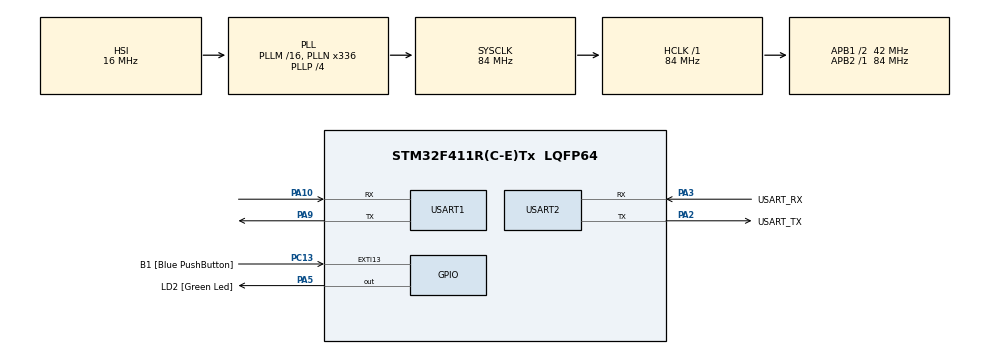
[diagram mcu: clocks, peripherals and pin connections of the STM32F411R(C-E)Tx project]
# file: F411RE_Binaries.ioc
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IWDG.Prescaler=IWDG_PRESCALER_64
IWDG.Reload=2000
Mcu.Family=STM32F4
Mcu.Name=STM32F411R(C-E)Tx
Mcu.Package=LQFP64
NVIC.FLASH_IRQn=true\:0\:0\:false\:false\:true\:true\:true\:true
NVIC.PriorityGroup=NVIC_PRIORITYGROUP_0
NVIC.USART1_IRQn=true\:0\:0\:false\:false\:true\:true\:true\:true
NVIC.USART2_IRQn=true\:0\:0\:false\:false\:true\:true\:true\:true
PA10.Mode=Asynchronous
PA10.Signal=USART1_RX
PA13.GPIO_Label=TMS
PA13.Mode=Serial_Wire
PA13.Signal=SYS_JTMS-SWDIO
PA14.GPIO_Label=TCK
PA14.Mode=Serial_Wire
PA14.Signal=SYS_JTCK-SWCLK
PA2.GPIO_Label=USART_TX
PA2.Mode=Asynchronous
PA2.Signal=USART2_TX
PA3.GPIO_Label=USART_RX
PA3.Mode=Asynchronous
PA3.Signal=USART2_RX
PA5.GPIO_Label=LD2 [Green Led]
PA5.Signal=GPIO_Output
PA9.Mode=Asynchronous
PA9.Signal=USART1_TX
PB3.GPIO_Label=SWO
PB3.Signal=SYS_JTDO-SWO
PC13-ANTI_TAMP.GPIO_Label=B1 [Blue PushButton]
PC13-ANTI_TAMP.GPIO_ModeDefaultEXTI=GPIO_MODE_IT_FALLING
PC13-ANTI_TAMP.Signal=GPXTI13
PC14-OSC32_IN.Mode=LSE-External-Oscillator
PC14-OSC32_IN.Signal=RCC_OSC32_IN
PC15-OSC32_OUT.Mode=LSE-External-Oscillator
PC15-OSC32_OUT.Signal=RCC_OSC32_OUT
PH0\ -\ OSC_IN.Mode=HSE-External-Clock-Source
PH0\ -\ OSC_IN.Signal=RCC_OSC_IN
PH1\ -\ OSC_OUT.Mode=HSE-External-Clock-Source
PH1\ -\ OSC_OUT.Signal=RCC_OSC_OUT
ProjectManager.HeapSize=0x200
ProjectManager.StackSize=0x400
ProjectManager.TargetToolchain=CMake
RCC.48MHZClocksFreq_Value=84000000
RCC.AHBFreq_Value=84000000
RCC.APB1CLKDivider=RCC_HCLK_DIV2
RCC.APB1Freq_Value=42000000
RCC.APB1TimFreq_Value=84000000
RCC.APB2Freq_Value=84000000
RCC.APB2TimFreq_Value=84000000
RCC.CortexFreq_Value=84000000
RCC.FLatency-AdvancedSettings=FLASH_LATENCY_2
RCC.HCLKFreq_Value=84000000
RCC.HSE_VALUE=8000000
RCC.HSI_VALUE=16000000
RCC.PLLN=336
RCC.PLLP=RCC_PLLP_DIV4
RCC.SYSCLKFreq_VALUE=84000000
RCC.SYSCLKSource=RCC_SYSCLKSOURCE_PLLCLK
RCC.VCOOutputFreq_Value=336000000
USART1.VirtualMode=VM_ASYNC
USART2.VirtualMode=VM_ASYNC
VP_IWDG_VS_IWDG.Mode=IWDG_Activate
board=NUCLEO-F411RE

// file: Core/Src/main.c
/* USER CODE BEGIN Header */
/**
  ******************************************************************************
  * @file           : main.c
  * @brief          : Main program body
  ******************************************************************************
  * @attention
  *
  * Copyright (c) 2026 STMicroelectronics.
  * All rights reserved.
  *
  * This software is licensed under terms that can be found in the LICENSE file
  * in the root directory of this software component.
  * If no LICENSE file comes with this software, it is provided AS-IS.
  *
  ******************************************************************************
  */
/* USER CODE END Header */
#include "main.h"

/* USER CODE BEGIN Includes */
#include "esp_ota_flash.h"

/* USER CODE END Includes */

/* USER CODE BEGIN PTD */
#define PUTCHAR_PROTOTYPE int __io_putchar(int ch)
#define GETCHAR_PROTOTYPE int __io_getchar (void)
/* USER CODE END PTD */

/* USER CODE BEGIN PD */

const uint32_t valid_flag = 0xAAAAAAAA;
const uint32_t pending_flag = 0xBBBBBBBB;
const uint32_t reset_flag = 0xDDDDDDDD;
const uint8_t ready_response = 0x78;
uint8_t already_marked = 0;
uint8_t tx_buff[] = "In New program\r\n";
uint8_t tx_buff2[] = "Its been 5 seconds\r\n";
uint8_t tx_buff3[] = "Jumping back to bootloader\r\n";
uint8_t rx_byte;
uint8_t rx_index = 0;
typedef enum {WAIT_START_1, WAIT_START_2, WAIT_OTA_SEQUENCE, RECEIVE_PACKET} rx_state_t; // State machine for rx_packets
rx_state_t rx_state = WAIT_START_1;
uint8_t ota_start_count = 0;
volatile uint8_t rx_start_ota_flag = 0;
/* USER CODE END PD */

IWDG_HandleTypeDef hiwdg;

UART_HandleTypeDef huart1;
UART_HandleTypeDef huart2;

void SystemClock_Config(void);
static void MX_GPIO_Init(void);
static void MX_USART2_UART_Init(void);
static void MX_IWDG_Init(void);
static void MX_USART1_UART_Init(void);

int main(void)
{

  /* MCU Configuration--------------------------------------------------------*/

  /* Reset of all peripherals, Initializes the Flash interface and the Systick. */
  HAL_Init();

  /* Configure the system clock */
  SystemClock_Config();

  /* Initialize all configured peripherals */
  MX_GPIO_Init();
  MX_USART2_UART_Init();
  //MX_IWDG_Init();
  MX_USART1_UART_Init();
  /* USER CODE BEGIN 2 */
  uint32_t flag = *(uint32_t*)FLASH_FLAG_START;
  //char msg[30] = {0};
  //sprintf(msg, "After Jump Flag: %X\r\n", flag);
  //HAL_UART_Transmit_IT(&huart2, msg, sizeof(msg));
  uint16_t flash_packet_number = *(uint16_t*)FLASH_SIZE_START;
  uint32_t stage_valid_count = *(uint32_t*)FLASH_VALID_COUNT_START;
  HAL_UART_Receive_IT(&huart1, &rx_byte, 1);
  /* USER CODE END 2 */

  /* Infinite loop */
  while (1)
  {

    /* USER CODE BEGIN 3 */
    IWDG->KR = 0xAAAA;

    HAL_GPIO_TogglePin(LD2_GPIO_Port, LD2_Pin);
    HAL_UART_Transmit_IT(&huart2, tx_buff, sizeof(tx_buff));

    if((!already_marked) && (HAL_GetTick()> 5000) && (flag == pending_flag)){
      stage_valid_count++;
      // Set flag and then reset back to bootloader
      HAL_UART_Transmit_IT(&huart2, tx_buff2, sizeof(tx_buff2));
      already_marked = 1;
      ota_flash_erase_staging(FLASH_FLAG_SECTOR);
      // If stage == 5 make flag valid if not keep pending
      if(stage_valid_count >= 5){
        ota_flash_write(FLASH_FLAG_START, (uint8_t*)&valid_flag, sizeof(valid_flag));
      } else {
        ota_flash_write(FLASH_FLAG_START, (uint8_t*)&pending_flag, sizeof(pending_flag));
      }
      ota_flash_write(FLASH_SIZE_START, (uint8_t*)&flash_packet_number, sizeof(flash_packet_number)); // Put packet number into flash to use later
      ota_flash_write(FLASH_VALID_COUNT_START, (uint8_t*)&stage_valid_count, sizeof(uint32_t)); // Put packet number into flash to use later
    }
    if(rx_start_ota_flag){
      ota_flash_erase_staging(FLASH_FLAG_SECTOR);
      ota_flash_write(FLASH_FLAG_START, (uint8_t*)&reset_flag, sizeof(reset_flag));
      NVIC_SystemReset();
    }
    HAL_Delay(300);

  }
  /* USER CODE END 3 */
}

void SystemClock_Config(void)
{
  RCC_OscInitTypeDef RCC_OscInitStruct = {0};
  RCC_ClkInitTypeDef RCC_ClkInitStruct = {0};

  /** Configure the main internal regulator output voltage
  */
  __HAL_RCC_PWR_CLK_ENABLE();
  __HAL_PWR_VOLTAGESCALING_CONFIG(PWR_REGULATOR_VOLTAGE_SCALE1);

  /** Initializes the RCC Oscillators according to the specified parameters
  * in the RCC_OscInitTypeDef structure.
  */
  RCC_OscInitStruct.OscillatorType = RCC_OSCILLATORTYPE_HSI|RCC_OSCILLATORTYPE_LSI;
  RCC_OscInitStruct.HSIState = RCC_HSI_ON;
  RCC_OscInitStruct.HSICalibrationValue = RCC_HSICALIBRATION_DEFAULT;
  RCC_OscInitStruct.LSIState = RCC_LSI_ON;
  RCC_OscInitStruct.PLL.PLLState = RCC_PLL_ON;
  RCC_OscInitStruct.PLL.PLLSource = RCC_PLLSOURCE_HSI;
  RCC_OscInitStruct.PLL.PLLM = 16;
  RCC_OscInitStruct.PLL.PLLN = 336;
  RCC_OscInitStruct.PLL.PLLP = RCC_PLLP_DIV4;
  RCC_OscInitStruct.PLL.PLLQ = 4;
  if (HAL_RCC_OscConfig(&RCC_OscInitStruct) != HAL_OK)
  {
    Error_Handler();
  }

  /** Initializes the CPU, AHB and APB buses clocks
  */
  RCC_ClkInitStruct.ClockType = RCC_CLOCKTYPE_HCLK|RCC_CLOCKTYPE_SYSCLK
                              |RCC_CLOCKTYPE_PCLK1|RCC_CLOCKTYPE_PCLK2;
  RCC_ClkInitStruct.SYSCLKSource = RCC_SYSCLKSOURCE_PLLCLK;
  RCC_ClkInitStruct.AHBCLKDivider = RCC_SYSCLK_DIV1;
  RCC_ClkInitStruct.APB1CLKDivider = RCC_HCLK_DIV2;
  RCC_ClkInitStruct.APB2CLKDivider = RCC_HCLK_DIV1;

  if (HAL_RCC_ClockConfig(&RCC_ClkInitStruct, FLASH_LATENCY_2) != HAL_OK)
  {
    Error_Handler();
  }
}

static void MX_IWDG_Init(void)
{

  hiwdg.Instance = IWDG;
  hiwdg.Init.Prescaler = IWDG_PRESCALER_64;
  hiwdg.Init.Reload = 2000;
  if (HAL_IWDG_Init(&hiwdg) != HAL_OK)
  {
    Error_Handler();
  }

}

static void MX_USART1_UART_Init(void)
{

  huart1.Instance = USART1;
  huart1.Init.BaudRate = 115200;
  huart1.Init.WordLength = UART_WORDLENGTH_8B;
  huart1.Init.StopBits = UART_STOPBITS_1;
  huart1.Init.Parity = UART_PARITY_NONE;
  huart1.Init.Mode = UART_MODE_TX_RX;
  huart1.Init.HwFlowCtl = UART_HWCONTROL_NONE;
  huart1.Init.OverSampling = UART_OVERSAMPLING_16;
  if (HAL_UART_Init(&huart1) != HAL_OK)
  {
    Error_Handler();
  }

}

static void MX_USART2_UART_Init(void)
{

  huart2.Instance = USART2;
  huart2.Init.BaudRate = 115200;
  huart2.Init.WordLength = UART_WORDLENGTH_8B;
  huart2.Init.StopBits = UART_STOPBITS_1;
  huart2.Init.Parity = UART_PARITY_NONE;
  huart2.Init.Mode = UART_MODE_TX_RX;
  huart2.Init.HwFlowCtl = UART_HWCONTROL_NONE;
  huart2.Init.OverSampling = UART_OVERSAMPLING_16;
  if (HAL_UART_Init(&huart2) != HAL_OK)
  {
    Error_Handler();
  }

}

static void MX_GPIO_Init(void)
{
  GPIO_InitTypeDef GPIO_InitStruct = {0};

  /* GPIO Ports Clock Enable */
  __HAL_RCC_GPIOC_CLK_ENABLE();
  __HAL_RCC_GPIOH_CLK_ENABLE();
  __HAL_RCC_GPIOA_CLK_ENABLE();
  __HAL_RCC_GPIOB_CLK_ENABLE();

  /*Configure GPIO pin Output Level */
  HAL_GPIO_WritePin(LD2_GPIO_Port, LD2_Pin, GPIO_PIN_RESET);

  /*Configure GPIO pin : B1_Pin */
  GPIO_InitStruct.Pin = B1_Pin;
  GPIO_InitStruct.Mode = GPIO_MODE_IT_FALLING;
  GPIO_InitStruct.Pull = GPIO_NOPULL;
  HAL_GPIO_Init(B1_GPIO_Port, &GPIO_InitStruct);

  /*Configure GPIO pin : LD2_Pin */
  GPIO_InitStruct.Pin = LD2_Pin;
  GPIO_InitStruct.Mode = GPIO_MODE_OUTPUT_PP;
  GPIO_InitStruct.Pull = GPIO_NOPULL;
  GPIO_InitStruct.Speed = GPIO_SPEED_FREQ_LOW;
  HAL_GPIO_Init(LD2_GPIO_Port, &GPIO_InitStruct);

}

/* USER CODE BEGIN 4 */
PUTCHAR_PROTOTYPE
{
     /* Place your implementation of fputc here */
      /* e.g. write a character to the USART1 and Loop until the end of transmission */
      HAL_UART_Transmit(&huart2, (uint8_t *)&ch, 1, 0xFFFF);
      return ch;
}

GETCHAR_PROTOTYPE
{
     uint8_t ch = 0;
     // Clear the Overrun flag just before receiving the first character
     __HAL_UART_CLEAR_OREFLAG(&huart2);

     HAL_UART_Receive(&huart2, (uint8_t *)&ch, 1, 5);
     return ch;
}

void HAL_UART_RxCpltCallback(UART_HandleTypeDef *huart)
{
  if(huart->Instance == USART1)
  {
    switch(rx_state)
    {
      case WAIT_START_1: // Waiting for first delim
        if(rx_byte == TX_START_DELIM_1)
            rx_state = WAIT_START_2;
        break;
      case WAIT_START_2: // Watiing for second delim
        if(rx_byte == TX_START_DELIM_2)
        {
            rx_index = 0; // Start collecting packet
            rx_state = WAIT_OTA_SEQUENCE;
        }
        else
            rx_state = WAIT_START_1; // Not a valid start
        break;
      case WAIT_OTA_SEQUENCE:
        if(rx_byte == TX_START_OTA_HEX) {
          ota_start_count++;
          if(ota_start_count >= 7) {
            rx_start_ota_flag = 1;
          }
        }
        break;
    }
    HAL_UART_Receive_IT(&huart1, &rx_byte, 1);
  }
}
/* USER CODE END 4 */

void Error_Handler(void)
{
  __disable_irq();
  while (1)
  {
  }
}
